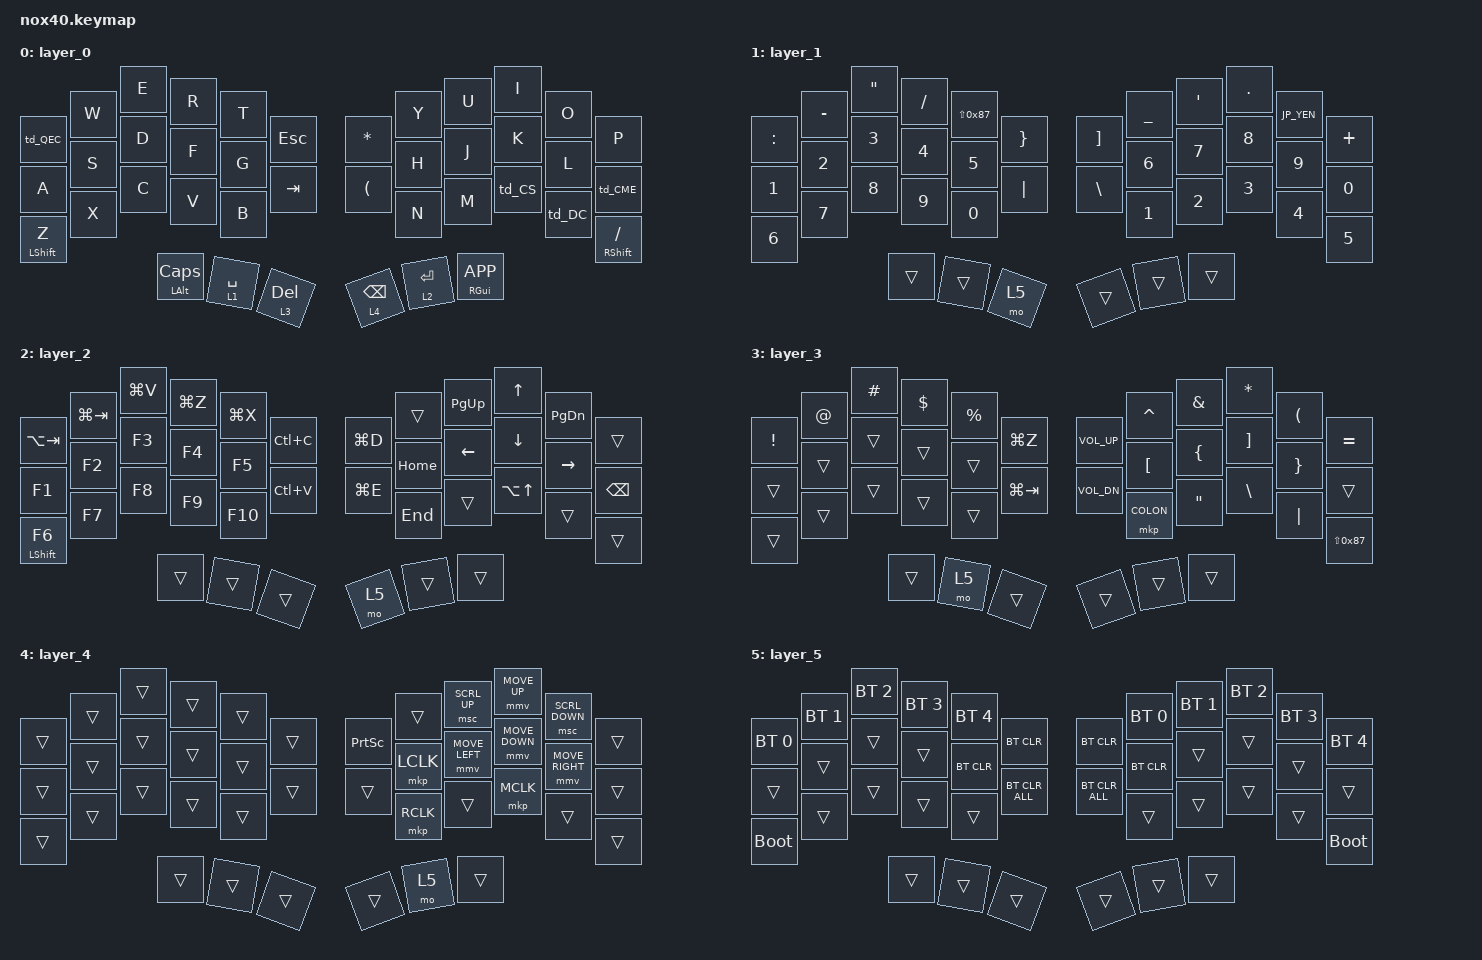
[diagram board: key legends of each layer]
#include <behaviors.dtsi>
#include <dt-bindings/zmk/keys.h>
#include <dt-bindings/zmk/bt.h>
#include <dt-bindings/zmk/outputs.h>
#include <dt-bindings/zmk/pointing.h>

// OS設定を日本語キーボードのまま使用するための変換定義　　
#define JP_DQUOTE       AT                // "
#define JP_AMPERSAND    CARET             // &
#define JP_QUOTE        AMPERSAND         // '
#define JP_EQUAL        UNDER             // =
#define JP_CARET        EQUAL             // ^
#define JP_YEN          0x89              // ¥
#define JP_PLUS         COLON             // +
#define JP_TILDE        PLUS              // ~
#define JP_PIPE         LS(0x89)          // |
#define JP_AT           LEFT_BRACKET      // @
#define JP_COLON        SINGLE_QUOTE      // :
#define JP_ASTERISK     DOUBLE_QUOTES     // *
#define JP_BACKQUOTE    LEFT_BRACE        // `
#define JP_UNDERSCORE   LS(0x87)          // _
#define JP_LBRACKET     RIGHT_BRACKET     // [
#define JP_RBRACKET     BACKSLASH         // ]
#define JP_LPAREN       ASTERISK          // (
#define JP_RPAREN       LEFT_PARENTHESIS  // )
#define JP_LBRACE       RIGHT_BRACE       // {
#define JP_RBRACE       PIPE              // }
#define JP_KANA         LANGUAGE_1        // かな
#define JP_EISU         LANGUAGE_2        // 英数
#define JP_HANZEN       GRAVE             // 半角/全角

&lt {
  quick-tap-ms = <180>;
  flavor = "tap-preferred";
};

&mt {
  quick-tap-ms = <180>;
  flavor = "tap-preferred";
};

/ {
    behaviors {
        ht: my_hold_tap {
            compatible = "zmk,behavior-hold-tap";
            #binding-cells = <2>;
            flavor = "tap-preferred";
            tapping-term-ms = <180>;
            quick-tap-ms = <180>;
            require-prior-idle-ms = <125>;
            bindings = <&kp>, <&kp>;
        };
        td_QEC: tap_dance_0 {
            compatible = "zmk,behavior-tap-dance";
            #binding-cells = <0>;
            tapping-term-ms = <180>;
            bindings = <&mt LCTRL Q>, <&kp ESC>;
        };
        td_CS: tap_dance_1 {
            compatible = "zmk,behavior-tap-dance";
            #binding-cells = <0>;
            tapping-term-ms = <180>;
            bindings = <&kp COMMA>, <&kp SEMI>;
        };
        td_DC: tap_dance_2 {
            compatible = "zmk,behavior-tap-dance";
            #binding-cells = <0>;
            tapping-term-ms = <180>;
            bindings = <&kp DOT>, <&kp JP_COLON>;
        };
        td_CME: tap_dance_3 {
            compatible = "zmk,behavior-tap-dance";
            #binding-cells = <0>;
            tapping-term-ms = <150>;
            bindings = <&mt RCTRL MINUS>, <&kp JP_EQUAL>;
        };  
    };


  keymap {
    compatible = "zmk,keymap";

    layer_0 {
      bindings = <
        &td_QEC         &kp W         &kp E         &kp R         &kp T         &kp ESC              &kp JP_LPAREN   &kp Y         &kp U         &kp I         &kp O         &kp P
        &kp A           &kp S         &kp D         &kp F         &kp G         &kp TAB              &kp JP_RPAREN   &kp H         &kp J         &kp K         &kp L         &td_CME 
        &ht LSHFT Z     &kp X         &kp C         &kp V         &kp B                                              &kp N         &kp M         &td_CS        &td_DC        &ht RSHFT SLASH
                                      &mt LALT CAPS &lt 1 SPACE   &lt 3 DEL                                          &lt 4 BSPC    &lt 2 RET     &mt RGUI K_APP
      >;
		};

    layer_1 {
      bindings = <
        &kp JP_PLUS     &kp MINUS     &kp JP_ASTERISK &kp SLASH   &kp JP_UNDERSCORE &kp JP_LBRACE    &kp JP_LBRACKET &kp JP_EQUAL  &kp JP_COLON  &kp DOT       &kp JP_YEN    &kp JP_TILDE
        &kp N1          &kp N2        &kp N3        &kp N4        &kp N5            &kp JP_RBRACE    &kp JP_RBRACKET &kp N6        &kp N7        &kp N8        &kp N9        &kp N0        
        &kp N6   &kp N7        &kp N8        &kp N9        &kp N0                                             &kp N1        &kp N2        &kp N3        &kp N4        &kp N5
                                      &trans        &trans        &mo 5                                              &trans       &trans         &trans
      >;
    };

    layer_2 {
      bindings = <
        &kp LA(TAB)     &kp LG(TAB)   &kp LG(V)     &kp LG(Z)     &kp LG(X)     &kp LC(C)            &kp LG(D)       &trans        &kp PG_UP     &kp UP        &kp PG_DN     &trans   
        &kp F1          &kp F2        &kp F3        &kp F4        &kp F5        &kp LC(V)            &kp LG(E)       &kp HOME      &kp LEFT      &kp DOWN      &kp RIGHT     &kp BSPC 
        &ht LSHFT F6    &kp F7        &kp F8        &kp F9        &kp F10                                            &kp END       &trans        &kp LA(UP)    &trans        &trans
                                      &trans        &trans        &trans                                             &mo 5         &trans        &trans
      >;
    };

    layer_3 {
      bindings = <
        &kp EXCL    &kp JP_DQUOTE     &kp HASH      &kp DLLR      &kp PRCNT     &kp LG(Z)            &kp C_VOL_UP    &kp JP_AMPERSAND  &kp JP_QUOTE  &kp JP_LPAREN    &kp JP_RPAREN  &kp JP_CARET   
        &trans          &trans        &trans        &trans        &trans        &kp LG(TAB)          &kp C_VOL_DN    &kp JP_AT     &kp JP_BACKQUOTE  &kp JP_LBRACKET  &kp JP_LBRACE  &trans        
        &trans          &trans        &trans        &trans        &trans                                             &mkp JP_PLUS  &kp JP_ASTERISK   &kp JP_RBRACKET  &kp JP_RBRACE  &kp JP_UNDERSCORE
                                      &trans        &mo 5         &trans                                             &trans        &trans        &trans
      >;
    };

    layer_4 {
      bindings = <
        &trans          &trans        &trans        &trans        &trans        &trans                &kp PSCRN      &trans        &msc SCRL_UP    &mmv MOVE_UP   &msc SCRL_DOWN   &trans 
        &trans          &trans        &trans        &trans        &trans        &trans                &trans         &mkp LCLK     &mmv MOVE_LEFT  &mmv MOVE_DOWN &mmv MOVE_RIGHT  &trans     
        &trans          &trans        &trans        &trans        &trans                                             &mkp RCLK     &trans          &mkp MCLK      &trans           &trans
                                      &trans        &trans        &trans                                             &trans        &mo 5         &trans
      >;
    };

    layer_5 {
      bindings = <
        &bt BT_SEL 0    &bt BT_SEL 1  &bt BT_SEL 2  &bt BT_SEL 3  &bt BT_SEL 4 &bt BT_CLR             &bt BT_CLR     &bt BT_SEL 0  &bt BT_SEL 1  &bt BT_SEL 2  &bt BT_SEL 3  &bt BT_SEL 4
        &trans          &trans        &trans        &trans        &bt BT_CLR   &bt BT_CLR_ALL         &bt BT_CLR_ALL &bt BT_CLR    &trans        &trans        &trans        &trans
        &bootloader     &trans        &trans        &trans        &trans                                             &trans        &trans        &trans        &trans        &bootloader
                                      &trans        &trans        &trans                                             &trans        &trans        &trans
      >;
    };
  };
};
